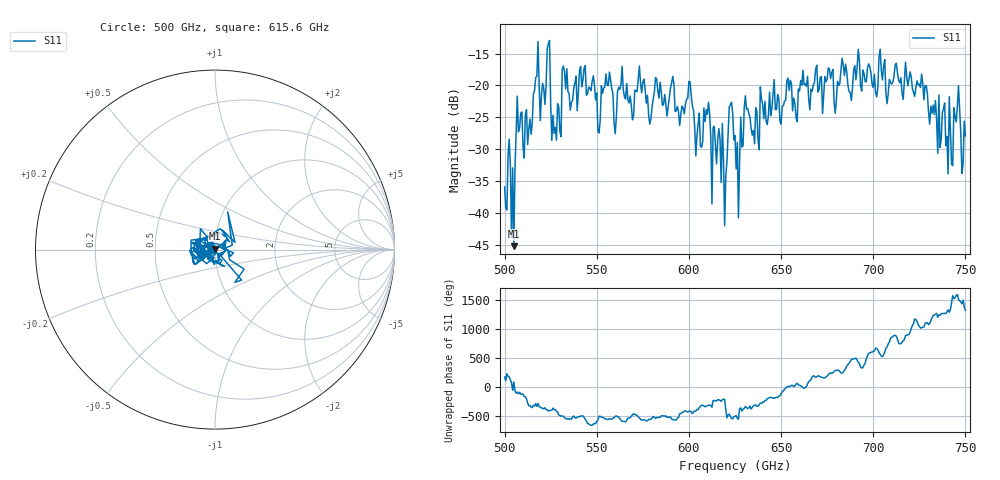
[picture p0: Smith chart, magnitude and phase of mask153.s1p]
!Created with skrf (http://scikit-rf.org).
# GHz S MA R 50.0
!freq magS11 angS11
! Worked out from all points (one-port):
!   401 points, 500 GHz to 750 GHz, reference 50 ohm
!   lowest |S11| = -45.3 dB at 505 GHz (marker M1), VSWR 1.01, Z = 50.1 + j0.542 ohm
!   |S11| at or under -10 dB: start of sweep to end of sweep
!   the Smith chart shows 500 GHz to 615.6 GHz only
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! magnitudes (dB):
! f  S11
! 500 GHz  -35.9
! 505 GHz  -45.3
! 507.5 GHz  -27.3
! 513.8 GHz  -25.3
! 516.9 GHz  -18.7
! 520.6 GHz  -19.7
! 523.8 GHz  -13.4
! 526.9 GHz  -27.5
! 531.2 GHz  -17.4
! 542.5 GHz  -19.2
! 550.6 GHz  -27.2
! 562.5 GHz  -20.6
! 593.8 GHz  -23.3
! 610 GHz  -24.5
! 618.8 GHz  -31.6
! 622.5 GHz  -23.1
! 625 GHz  -27.9
! 626.2 GHz  -29.0
! 631.2 GHz  -23.7
! 636.9 GHz  -24.1
! 656.2 GHz  -24.0
! 676.9 GHz  -18.9
! 680 GHz  -22.2
! 683.8 GHz  -16.9
! 687.5 GHz  -21.1
! 691.2 GHz  -17.2
! 718.8 GHz  -20.1
! 750 GHz  -27.9
